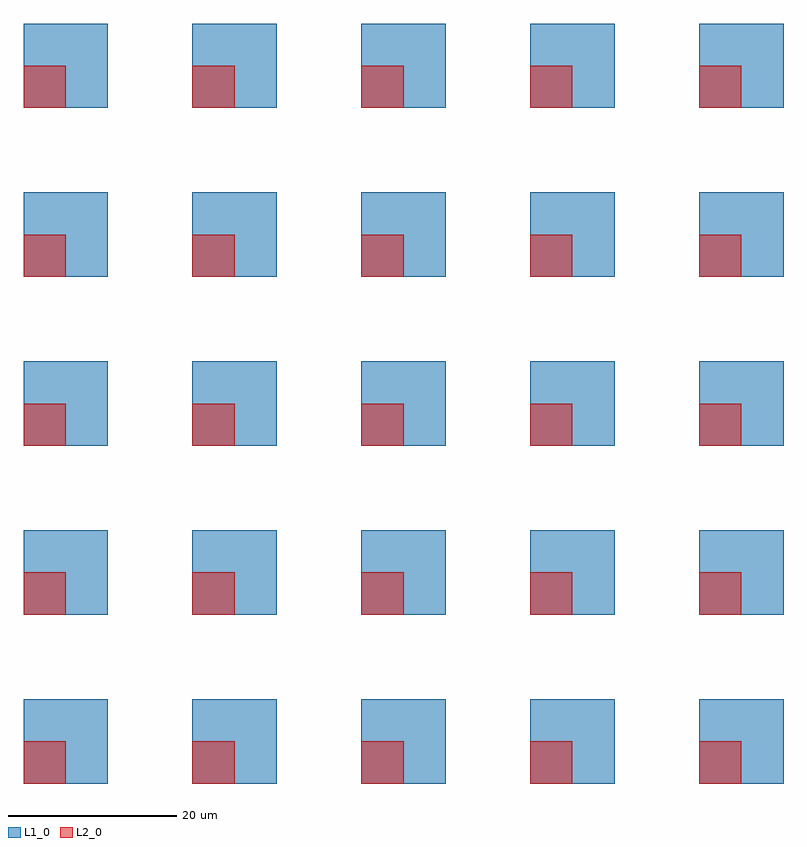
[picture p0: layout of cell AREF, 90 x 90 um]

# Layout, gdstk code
import gdstk
lib = gdstk.Library(unit=1e-6, precision=1e-09)
def R(c, l, rs):  # rectangles x0, y0, x1, y1
    for r in rs: c.add(gdstk.rectangle(r[:2], r[2:], *l))
L1_0 = (1, 0)
L2_0 = (2, 0)

box = lib.new_cell('box')
R(box, L1_0, [(-5,-5,5,5)])
R(box, L2_0, [(-5,-5,0,0)])

aref = lib.new_cell('AREF')
r = gdstk.Reference(box, (0,0)); r.repetition = gdstk.Repetition(5, 5, v1=(20,0), v2=(0,20)); aref.add(r)

lib.write_gds('AREF.gds')
